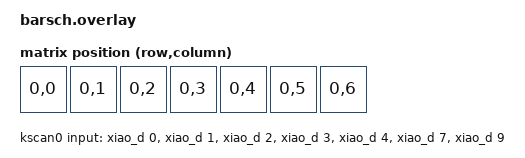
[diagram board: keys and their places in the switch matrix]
#include <dt-bindings/gpio/gpio.h>
#include <dt-bindings/led/led.h>
#include <dt-bindings/zmk/matrix_transform.h>
#include <physical_layouts.dtsi>

/ {
    chosen {
        zmk,kscan = &kscan0;
        zmk,underglow = &led_strip;
        zmk,physical-layout = &default_layout;
    };

    kscan0: kscan {
        compatible = "zmk,kscan-gpio-direct";
        input-gpios = <&xiao_d 0 (GPIO_ACTIVE_LOW | GPIO_PULL_UP)>,
                      <&xiao_d 1 (GPIO_ACTIVE_LOW | GPIO_PULL_UP)>,
                      <&xiao_d 2 (GPIO_ACTIVE_LOW | GPIO_PULL_UP)>,
                      <&xiao_d 3 (GPIO_ACTIVE_LOW | GPIO_PULL_UP)>,
                      <&xiao_d 4 (GPIO_ACTIVE_LOW | GPIO_PULL_UP)>,
                      <&xiao_d 7 (GPIO_ACTIVE_LOW | GPIO_PULL_UP)>,
                      <&xiao_d 9 (GPIO_ACTIVE_LOW | GPIO_PULL_UP)>;
    };

    /* Das Label wurde hier zu 'ext_power_hardware' geändert, um den ZMK-Fehler zu beheben */
    ext_power_hardware: ext-power {
        compatible = "zmk,ext-power-generic";
        control-gpios = <&gpio0 14 GPIO_ACTIVE_HIGH>;
    };

    direct_transform: direct_transform {
        compatible = "zmk,matrix-transform";
        columns = <7>;
        rows = <1>;
        map = <
            RC(0,0) RC(0,1) RC(0,2) RC(0,3) RC(0,4) RC(0,5) RC(0,6)
        >;
    };

    default_layout: default_layout {
        compatible = "zmk,physical-layout";
        display-name = "Default Layout";
        kscan = <&kscan0>;
        transform = <&direct_transform>;
        keys
            = <&key_physical_attrs 100 100 0 0 0 0 0>
            , <&key_physical_attrs 100 100 100 0 0 0 0>
            , <&key_physical_attrs 100 100 200 0 0 0 0>
            , <&key_physical_attrs 100 100 300 0 0 0 0>
            , <&key_physical_attrs 100 100 400 0 0 0 0>
            , <&key_physical_attrs 100 100 500 0 0 0 0>
            , <&key_physical_attrs 100 100 600 0 0 0 0>
            ;
    };
};

&pinctrl {
    spi0_default: spi0_default {
        group1 {
            psels = <NRF_PSEL(SPIM_SCK, 0, 8)>,
                    <NRF_PSEL(SPIM_MOSI, 0, 10)>;
        };
    };
    spi0_sleep: spi0_sleep {
        group1 {
            psels = <NRF_PSEL(SPIM_SCK, 0, 8)>,
                    <NRF_PSEL(SPIM_MOSI, 0, 10)>;
            low-power-enable;
        };
    };
};

&spi0 {
    compatible = "nordic,nrf-spim";
    status = "okay";
    pinctrl-0 = <&spi0_default>;
    pinctrl-1 = <&spi0_sleep>;
    pinctrl-names = "default", "sleep";

    led_strip: ws2812@0 {
        compatible = "worldsemi,ws2812-spi";
        reg = <0>;
        spi-max-frequency = <4000000>;
        spi-one-frame = <0x70>;
        spi-zero-frame = <0x40>;
        chain-length = <2>;
        color-mapping = <0x01 0x02 0x03>;
    };
};
